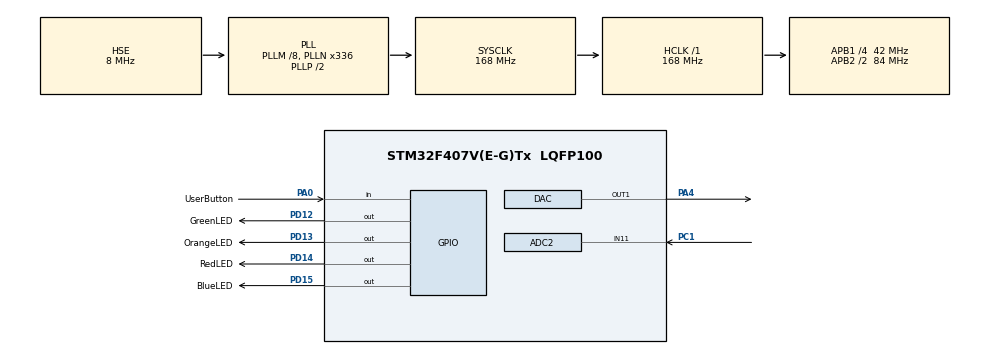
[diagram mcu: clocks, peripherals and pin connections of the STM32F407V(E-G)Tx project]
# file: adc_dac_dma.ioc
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ADC1.Channel-1\#ChannelRegularConversion=ADC_CHANNEL_TEMPSENSOR
ADC1.DMAContinuousRequests=ENABLE
ADC1.ExternalTrigConv=ADC_EXTERNALTRIGCONV_T2_TRGO
ADC1.NbrOfConversionFlag=1
ADC1.Rank-1\#ChannelRegularConversion=1
ADC1.SamplingTime-1\#ChannelRegularConversion=ADC_SAMPLETIME_480CYCLES
ADC1.master=1
ADC2.Channel-0\#ChannelRegularConversion=ADC_CHANNEL_11
ADC2.DMAContinuousRequests=ENABLE
ADC2.ExternalTrigConv=ADC_EXTERNALTRIGCONV_T2_TRGO
ADC2.NbrOfConversionFlag=1
ADC2.Rank-0\#ChannelRegularConversion=1
ADC2.SamplingTime-0\#ChannelRegularConversion=ADC_SAMPLETIME_84CYCLES
DAC.DAC_Trigger=DAC_TRIGGER_T2_TRGO
Dma.ADC1.0.Direction=DMA_PERIPH_TO_MEMORY
Dma.ADC1.0.FIFOMode=DMA_FIFOMODE_DISABLE
Dma.ADC1.0.Instance=DMA2_Stream0
Dma.ADC1.0.MemDataAlignment=DMA_MDATAALIGN_WORD
Dma.ADC1.0.MemInc=DMA_MINC_ENABLE
Dma.ADC1.0.Mode=DMA_CIRCULAR
Dma.ADC1.0.PeriphDataAlignment=DMA_PDATAALIGN_WORD
Dma.ADC1.0.PeriphInc=DMA_PINC_DISABLE
Dma.ADC1.0.Priority=DMA_PRIORITY_LOW
Dma.ADC2.1.Direction=DMA_PERIPH_TO_MEMORY
Dma.ADC2.1.FIFOMode=DMA_FIFOMODE_DISABLE
Dma.ADC2.1.Instance=DMA2_Stream2
Dma.ADC2.1.MemDataAlignment=DMA_MDATAALIGN_WORD
Dma.ADC2.1.MemInc=DMA_MINC_ENABLE
Dma.ADC2.1.Mode=DMA_CIRCULAR
Dma.ADC2.1.PeriphDataAlignment=DMA_PDATAALIGN_WORD
Dma.ADC2.1.PeriphInc=DMA_PINC_DISABLE
Dma.ADC2.1.Priority=DMA_PRIORITY_LOW
Dma.DAC1.2.Direction=DMA_MEMORY_TO_PERIPH
Dma.DAC1.2.FIFOMode=DMA_FIFOMODE_DISABLE
Dma.DAC1.2.Instance=DMA1_Stream5
Dma.DAC1.2.MemDataAlignment=DMA_MDATAALIGN_WORD
Dma.DAC1.2.MemInc=DMA_MINC_ENABLE
Dma.DAC1.2.Mode=DMA_CIRCULAR
Dma.DAC1.2.PeriphDataAlignment=DMA_PDATAALIGN_WORD
Dma.DAC1.2.PeriphInc=DMA_PINC_DISABLE
Dma.DAC1.2.Priority=DMA_PRIORITY_LOW
Dma.Request0=ADC1
Dma.Request1=ADC2
Dma.Request2=DAC1
Mcu.Family=STM32F4
Mcu.Name=STM32F407V(E-G)Tx
Mcu.Package=LQFP100
NVIC.DMA1_Stream5_IRQn=true\:0\:0\:false\:false\:true\:false\:true\:true
NVIC.DMA2_Stream0_IRQn=true\:0\:0\:false\:false\:true\:false\:true\:true
NVIC.DMA2_Stream2_IRQn=true\:0\:0\:false\:false\:true\:false\:true\:true
NVIC.PriorityGroup=NVIC_PRIORITYGROUP_0
PA0-WKUP.GPIO_Label=UserButton
PA0-WKUP.Signal=GPIO_Input
PA13.Mode=Trace_Asynchronous_SW
PA13.Signal=SYS_JTMS-SWDIO
PA14.Mode=Trace_Asynchronous_SW
PA14.Signal=SYS_JTCK-SWCLK
PA4.Signal=COMP_DAC1_group
PB3.Mode=Trace_Asynchronous_SW
PB3.Signal=SYS_JTDO-SWO
PC1.Signal=ADCx_IN11
PD12.GPIO_Label=GreenLED
PD12.Signal=GPIO_Output
PD13.GPIO_Label=OrangeLED 
PD13.Signal=GPIO_Output
PD14.GPIO_Label=RedLED 
PD14.Signal=GPIO_Output
PD15.GPIO_Label=BlueLED 
PD15.Signal=GPIO_Output
PH0-OSC_IN.Mode=HSE-External-Oscillator
PH0-OSC_IN.Signal=RCC_OSC_IN
PH1-OSC_OUT.Mode=HSE-External-Oscillator
PH1-OSC_OUT.Signal=RCC_OSC_OUT
ProjectManager.HeapSize=0x200
ProjectManager.StackSize=0x400
ProjectManager.TargetToolchain=STM32CubeIDE
RCC.48MHZClocksFreq_Value=48000000
RCC.AHBFreq_Value=168000000
RCC.APB1CLKDivider=RCC_HCLK_DIV4
RCC.APB1Freq_Value=42000000
RCC.APB1TimFreq_Value=84000000
RCC.APB2CLKDivider=RCC_HCLK_DIV2
RCC.APB2Freq_Value=84000000
RCC.APB2TimFreq_Value=168000000
RCC.CortexFreq_Value=168000000
RCC.HCLKFreq_Value=168000000
RCC.HSE_VALUE=8000000
RCC.HSI_VALUE=16000000
RCC.LSE_VALUE=32768
RCC.PLLM=8
RCC.PLLN=336
RCC.PLLQ=7
RCC.PLLSourceVirtual=RCC_PLLSOURCE_HSE
RCC.SYSCLKFreq_VALUE=168000000
RCC.SYSCLKSource=RCC_SYSCLKSOURCE_PLLCLK
RCC.VCOOutputFreq_Value=336000000
SH.ADCx_IN11.0=ADC2_IN11,IN11
SH.COMP_DAC1_group.0=DAC_OUT1,DAC_OUT1
TIM2.Period=1049
TIM2.Prescaler=4
TIM2.TIM_MasterOutputTrigger=TIM_TRGO_UPDATE
VP_ADC1_TempSens_Input.Mode=IN-TempSens
VP_TIM2_VS_ClockSourceINT.Mode=Internal
board=STM32F407G-DISC1

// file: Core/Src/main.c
/* USER CODE BEGIN Header */
/**
  ******************************************************************************
  * @file           : main.c
  * @brief          : Main program body
  ******************************************************************************
  * @attention
  *
  * Copyright (c) 2024 STMicroelectronics.
  * All rights reserved.
  *
  * This software is licensed under terms that can be found in the LICENSE file
  * in the root directory of this software component.
  * If no LICENSE file comes with this software, it is provided AS-IS.
  *
  ******************************************************************************
  */
/* USER CODE END Header */
#include "main.h"
#include "adc.h"
#include "dac.h"
#include "dma.h"
#include "tim.h"
#include "gpio.h"

/* USER CODE BEGIN PD */
#define HALFBUFFERLENGTH 100
/* USER CODE END PD */

/* USER CODE BEGIN PV */
uint32_t adc_temp[2*HALFBUFFERLENGTH];
uint32_t adc_input[2*HALFBUFFERLENGTH];
uint32_t dac_output[2*HALFBUFFERLENGTH];
float avg_adc_temp;
float temperature;

/* USER CODE END PV */

void SystemClock_Config(void);

/* USER CODE BEGIN 0 */
void HAL_ADC_ConvHalfCpltCallback(ADC_HandleTypeDef *hadc)
{
     if(hadc->Instance == ADC1) {
    	 float sum = 0;
    	 for (int i = 0; i < HALFBUFFERLENGTH; i++){
    		 sum += adc_temp[i];
    	 }
    	 avg_adc_temp = sum/1.0/HALFBUFFERLENGTH;
     } else if(hadc->Instance == ADC2){
    	 for (int i = 0; i < HALFBUFFERLENGTH; i++){
			 dac_output[i] = adc_input[i];
		 }
     }
}
void HAL_ADC_ConvCpltCallback(ADC_HandleTypeDef *hadc)
{
     if(hadc->Instance == ADC1) {
    	 float sum = 0;
		 for (int i = HALFBUFFERLENGTH; i < 2*HALFBUFFERLENGTH; i++){
			 sum += adc_temp[i];
		 }
		 avg_adc_temp = sum/1.0/HALFBUFFERLENGTH;
     }else if(hadc->Instance == ADC2){
    	 for (int i = HALFBUFFERLENGTH; i < 2*HALFBUFFERLENGTH; i++){
			 dac_output[i] = adc_input[i];
		 }
     }
}

/* USER CODE END 0 */

int main(void)
{

  /* MCU Configuration--------------------------------------------------------*/

  /* Reset of all peripherals, Initializes the Flash interface and the Systick. */
  HAL_Init();

  /* Configure the system clock */
  SystemClock_Config();

  /* Initialize all configured peripherals */
  MX_GPIO_Init();
  MX_DMA_Init();
  MX_ADC1_Init();
  MX_TIM2_Init();
  MX_ADC2_Init();
  MX_DAC_Init();
  /* USER CODE BEGIN 2 */
  HAL_ADC_Start_DMA(&hadc1, (uint32_t *) adc_temp, 2*HALFBUFFERLENGTH);
  HAL_ADC_Start_DMA(&hadc2, (uint32_t *) adc_input, 2*HALFBUFFERLENGTH);
  HAL_DAC_Start_DMA(&hdac, DAC_CHANNEL_1, (uint32_t *) dac_output, 2*HALFBUFFERLENGTH, DAC_ALIGN_12B_R);
  HAL_TIM_Base_Start(&htim2);

  /* USER CODE END 2 */

  /* Infinite loop */
  /* USER CODE BEGIN WHILE */
  while (1)
  {
	  temperature = (3.0*avg_adc_temp/4095 - 0.76)/2.5e-3 + 25;
    /* USER CODE END WHILE */

  }
}

void SystemClock_Config(void)
{
  RCC_OscInitTypeDef RCC_OscInitStruct = {0};
  RCC_ClkInitTypeDef RCC_ClkInitStruct = {0};

  /** Configure the main internal regulator output voltage
  */
  __HAL_RCC_PWR_CLK_ENABLE();
  __HAL_PWR_VOLTAGESCALING_CONFIG(PWR_REGULATOR_VOLTAGE_SCALE1);

  /** Initializes the RCC Oscillators according to the specified parameters
  * in the RCC_OscInitTypeDef structure.
  */
  RCC_OscInitStruct.OscillatorType = RCC_OSCILLATORTYPE_HSE;
  RCC_OscInitStruct.HSEState = RCC_HSE_ON;
  RCC_OscInitStruct.PLL.PLLState = RCC_PLL_ON;
  RCC_OscInitStruct.PLL.PLLSource = RCC_PLLSOURCE_HSE;
  RCC_OscInitStruct.PLL.PLLM = 8;
  RCC_OscInitStruct.PLL.PLLN = 336;
  RCC_OscInitStruct.PLL.PLLP = RCC_PLLP_DIV2;
  RCC_OscInitStruct.PLL.PLLQ = 7;
  if (HAL_RCC_OscConfig(&RCC_OscInitStruct) != HAL_OK)
  {
    Error_Handler();
  }

  /** Initializes the CPU, AHB and APB buses clocks
  */
  RCC_ClkInitStruct.ClockType = RCC_CLOCKTYPE_HCLK|RCC_CLOCKTYPE_SYSCLK
                              |RCC_CLOCKTYPE_PCLK1|RCC_CLOCKTYPE_PCLK2;
  RCC_ClkInitStruct.SYSCLKSource = RCC_SYSCLKSOURCE_PLLCLK;
  RCC_ClkInitStruct.AHBCLKDivider = RCC_SYSCLK_DIV1;
  RCC_ClkInitStruct.APB1CLKDivider = RCC_HCLK_DIV4;
  RCC_ClkInitStruct.APB2CLKDivider = RCC_HCLK_DIV2;

  if (HAL_RCC_ClockConfig(&RCC_ClkInitStruct, FLASH_LATENCY_5) != HAL_OK)
  {
    Error_Handler();
  }
}

void Error_Handler(void)
{
  __disable_irq();
  while (1)
  {
  }
}
